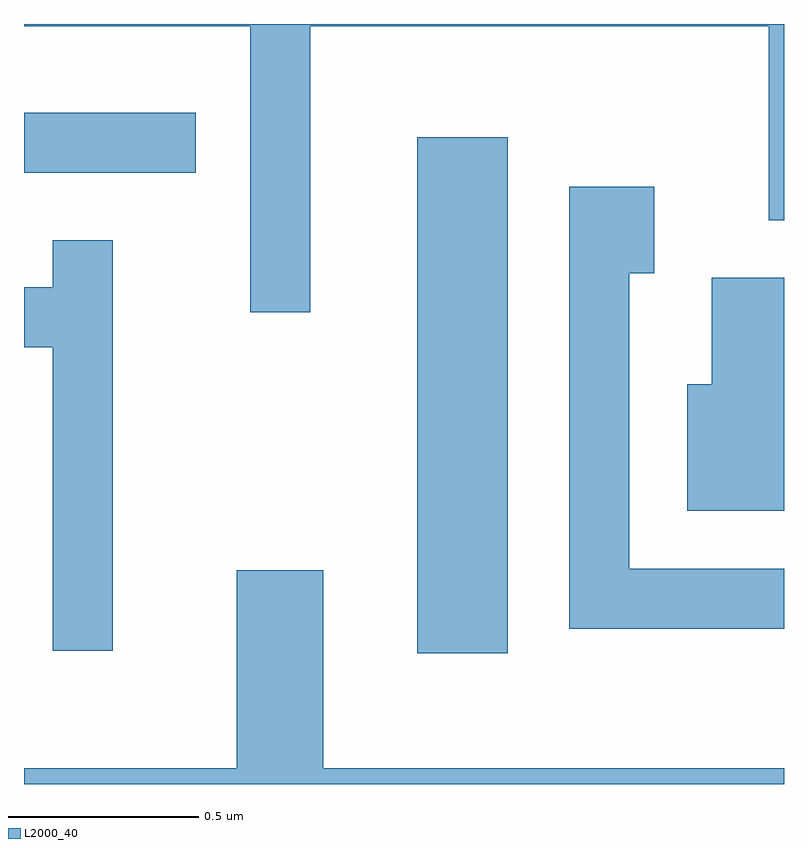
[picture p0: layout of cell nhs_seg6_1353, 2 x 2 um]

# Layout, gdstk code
import gdstk
lib = gdstk.Library(unit=1e-6, precision=1e-09)
def R(c, l, rs):  # rectangles x0, y0, x1, y1
    for r in rs: c.add(gdstk.rectangle(r[:2], r[2:], *l))
def P(c, l, *ps):  # polygons
    for p in ps: c.add(gdstk.Polygon(p, *l))
L2000_40 = (2000, 40)

nhs_seg6_1353 = lib.new_cell('nhs_seg6_1353')
R(nhs_seg6_1353, L2000_40, [(195.646,1650.506,195.884,1651.864), (194.611,1651.771,195.063,1651.929)])
P(nhs_seg6_1353, L2000_40, [(195.364,1652.156),(196.571,1652.156),(196.571,1651.646),(196.611,1651.646),(196.611,1652.162),(194.611,1652.162),(194.611,1652.156),(195.206,1652.156),(195.206,1651.403),(195.364,1651.403)],
  [(196.611,1650.729),(196.204,1650.729),(196.204,1651.506),(196.269,1651.506),(196.269,1651.734),(196.046,1651.734),(196.046,1650.571),(196.611,1650.571)],
  [(194.844,1651.593),(194.686,1651.593),(194.686,1651.469),(194.611,1651.469),(194.611,1651.311),(194.686,1651.311),(194.686,1650.513),(194.844,1650.513)],
  [(196.611,1651.494),(196.421,1651.494),(196.421,1651.214),(196.356,1651.214),(196.356,1650.881),(196.611,1650.881)],
  [(196.611,1650.204),(195.399,1650.204),(195.399,1650.724),(195.171,1650.724),(195.171,1650.204),(194.611,1650.204),(194.611,1650.162),(196.611,1650.162)])

lib.write_gds('nhs_seg6_1353.gds')
